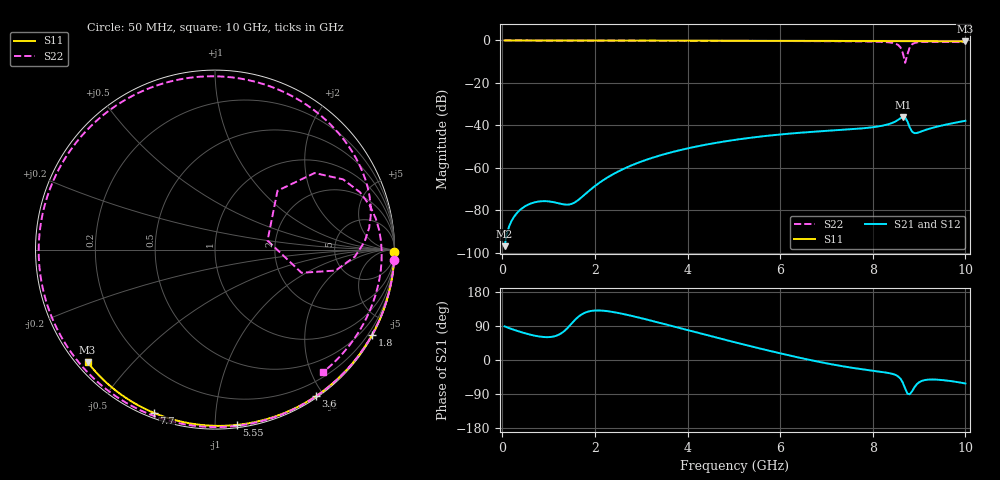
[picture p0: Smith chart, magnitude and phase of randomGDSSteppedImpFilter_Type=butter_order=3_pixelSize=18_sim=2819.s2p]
! freq	dB(S11)	phase(S11)	dB(S12)	phase(S12)
!  dB(S21)	phase(S21)	dB(S22)	phase(S22)
!S-par simulation data
#  GHz  S  DB  R 50
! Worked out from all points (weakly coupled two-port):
!   200 points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, 50 MHz to 10 GHz, reference 50 ohm
!   highest |S21| = -36.04 dB at 8.65 GHz (marker M1); lowest = -97.0 dB at 50 MHz (marker M2)
!   lowest |S11| = -0.5 dB at 10 GHz (marker M3), VSWR 36.98, Z = 1.55 - j18.9 ohm
!   |S11| at or under -10 dB: nowhere
!   |S22| runs from -10.5 to 0.0 dB; largest |S21 - S12| = 0
!   S11 on the Smith chart (normalised r, x): 50 MHz: open; 1.8 GHz: 0.03, -3.95; 3.6 GHz: 0.02, -1.90; 5.55 GHz: 0.02, -1.13; 7.7 GHz: 0.02, -0.69; 10 GHz: 0.03, -0.38
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0.05  -0.00 -0.8  -96.98 88.8  -96.98 88.8  -0.00 -3.4
0.45  -0.01 -7.2  -78.76 72.0  -78.76 72.0  -0.04 -30.4
0.9  -0.02 -14.3  -75.76 60.6  -75.76 60.6  -0.07 -58.9
1.45  -0.03 -23.0  -77.31 89.8  -77.31 89.8  -0.10 -89.6
1.75  -0.04 -27.6  -73.21 122.8  -73.21 122.8  -0.11 -104.4
1.8  -0.04 -28.4  -72.26 125.6  -72.26 125.6  -0.11 -106.7
2.6  -0.05 -40.7  -60.73 121.8  -60.73 121.8  -0.13 -140.1
3.4  -0.07 -52.6  -54.24 98.0  -54.24 98.0  -0.15 -168.0
3.6  -0.07 -55.5  -53.02 91.7  -53.02 91.7  -0.15 -174.5
5.05  -0.12 -76.0  -46.77 45.9  -46.77 45.9  -0.21 141.2
5.55  -0.14 -82.8  -45.36 30.8  -45.36 30.8  -0.23 125.9
6.7  -0.19 -97.9  -43.07 -1.4  -43.07 -1.4  -0.31 88.0
7.7  -0.25 -110.5  -41.58 -23.3  -41.58 -23.3  -0.45 49.4
8.35  -0.30 -118.6  -39.40 -34.5  -39.40 -34.5  -0.90 15.9
8.55  -0.32 -121.0  -37.40 -43.6  -37.40 -43.6  -2.15 -2.8
8.65  -0.33 -122.2  -36.04 -60.0  -36.04 -60.0  -6.04 -15.0
8.7  -0.33 -122.8  -36.31 -75.4  -36.31 -75.4  -10.55 9.7
8.75  -0.34 -123.4  -38.29 -88.8  -38.29 -88.8  -6.41 43.3
8.8  -0.34 -124.0  -41.06 -90.6  -41.06 -90.6  -3.10 37.6
8.95  -0.36 -125.9  -43.63 -63.9  -43.63 -63.9  -0.94 15.8
9.15  -0.38 -128.3  -42.10 -52.4  -42.10 -52.4  -0.64 -0.4
10  -0.47 -138.5  -37.86 -61.9  -37.86 -61.9  -0.82 -48.8
